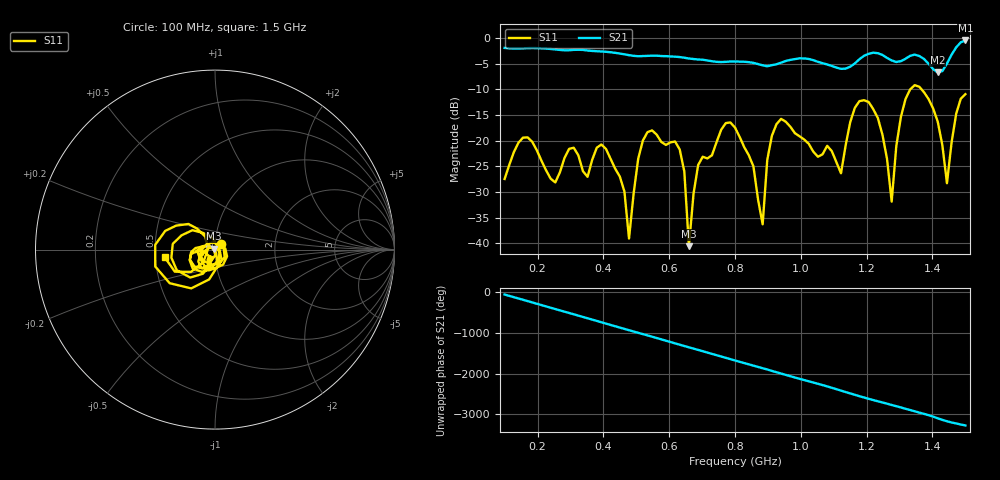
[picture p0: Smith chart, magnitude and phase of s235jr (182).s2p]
! NanoVNA-App
! Date: 2025-09-25 15:05:35
! Start: 100MHz Stop: 1,5GHz Points: 101
! S-Parameter data: F S11 S21 S12 S22
# Hz S RI R 50
!  Frequency  S11_Real  S11_Imag  S21_Real  S21_Imag  S12_Real  S12_Imag  S22_Real  S22_Imag
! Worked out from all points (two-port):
!   101 points, 100 MHz to 1.5 GHz, reference 50 ohm
!   highest |S21| = -0.51 dB at 1.5 GHz (marker M1); lowest = -6.7 dB at 1.416 GHz (marker M2)
!   |S21| within 3 dB of the highest: start of sweep to 492.9 MHz; 1.192 GHz to 1.252 GHz (60.55 MHz wide, 4.96 % of centre) (the widest 2 of 5)
!   lowest |S11| = -40.6 dB at 660 MHz (marker M3), VSWR 1.02, Z = 49.2 + j0.55 ohm
!   |S11| at or under -10 dB: start of sweep to 1.333 GHz; 1.366 GHz to end of sweep
!   S12 and S22 are empty: the file has one direction only
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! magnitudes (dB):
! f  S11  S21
! 100 MHz  -27.5  -2.0
! 156 MHz  -19.4  -2.0
! 338 MHz  -26.0  -2.3
! 408 MHz  -21.6  -2.7
! 478 MHz  -39.1  -3.4
! 520 MHz  -20.0  -3.5
! 576 MHz  -20.3  -3.5
! 632 MHz  -21.7  -3.7
! 660 MHz  -40.6  -4.0
! 688 MHz  -24.8  -4.2
! 800 MHz  -17.5  -4.6
! 884 MHz  -36.3  -5.4
! 898 MHz  -23.8  -5.5
! 926 MHz  -16.8  -5.1
! 1.038 GHz  -22.2  -4.3
! 1.122 GHz  -26.4  -6.0
! 1.206 GHz  -12.5  -3.1
! 1.276 GHz  -31.9  -4.4
! 1.332 GHz  -10.1  -3.5
! 1.416 GHz  -16.3  -6.7
! 1.444 GHz  -28.3  -5.0
! 1.5 GHz  -11.0  -0.5
